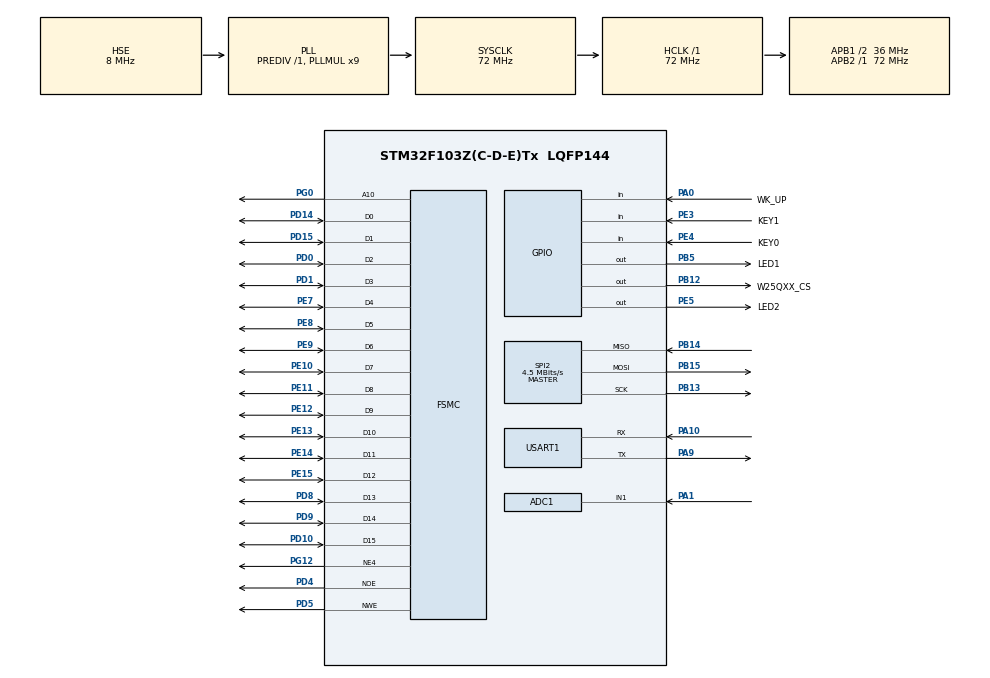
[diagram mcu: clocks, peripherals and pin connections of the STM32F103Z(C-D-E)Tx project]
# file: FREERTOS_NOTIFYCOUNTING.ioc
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ADC1.Channel-3\#ChannelRegularConversion=ADC_CHANNEL_1
ADC1.ExternalTrigConv=ADC_EXTERNALTRIGCONV_T3_TRGO
ADC1.NbrOfConversionFlag=1
ADC1.Rank-3\#ChannelRegularConversion=1
ADC1.SamplingTime-3\#ChannelRegularConversion=ADC_SAMPLETIME_1CYCLE_5
ADC1.master=1
FREERTOS.BinarySemaphores01=BinSem_DataReady,Dynamic,NULL
FREERTOS.INCLUDE_xEventGroupSetBitFromISR=1
FREERTOS.INCLUDE_xTaskAbortDelay=1
FREERTOS.INCLUDE_xTaskGetCurrentTaskHandle=1
FREERTOS.INCLUDE_xTaskGetHandle=1
FREERTOS.Queues01=Queue_Keys,10,uint8_t,0,Dynamic,NULL,NULL
FREERTOS.Tasks01=Task_Checkln,24,128,AppTask_Checkln,Default,NULL,Dynamic,NULL,NULL
FSMC.AddressSetupTime4=6
FSMC.BusTurnAroundDuration4=0
FSMC.DataSetupTime4=26
FSMC.ExtendedAddressSetupTime4=3
FSMC.ExtendedBusTurnAroundDuration4=0
FSMC.ExtendedDataSetupTime4=6
FSMC.ExtendedMode4=FSMC_EXTENDED_MODE_ENABLE
Mcu.Family=STM32F1
Mcu.Name=STM32F103Z(C-D-E)Tx
Mcu.Package=LQFP144
NVIC.PriorityGroup=NVIC_PRIORITYGROUP_4
NVIC.RTC_Alarm_IRQn=true\:5\:0\:false\:false\:true\:true\:true\:true\:true
NVIC.RTC_IRQn=true\:5\:0\:false\:false\:true\:true\:true\:true\:true
NVIC.TIM3_IRQn=true\:5\:0\:false\:false\:true\:true\:true\:true\:true
NVIC.TIM6_IRQn=true\:15\:0\:false\:false\:true\:false\:false\:true\:true
NVIC.TimeBase=TIM6_IRQn
NVIC.TimeBaseIP=TIM6
NVIC.USART1_IRQn=true\:5\:0\:false\:false\:true\:true\:true\:true\:true
OSC_IN.Mode=HSE-External-Oscillator
OSC_IN.Signal=RCC_OSC_IN
OSC_OUT.Mode=HSE-External-Oscillator
OSC_OUT.Signal=RCC_OSC_OUT
PA0-WKUP.GPIO_Label=WK_UP
PA0-WKUP.GPIO_PuPd=GPIO_PULLDOWN
PA0-WKUP.Signal=GPIO_Input
PA1.Signal=ADCx_IN1
PA10.Mode=Asynchronous
PA10.Signal=USART1_RX
PA13.Mode=Serial_Wire
PA13.Signal=SYS_JTMS-SWDIO
PA14.Mode=Serial_Wire
PA14.Signal=SYS_JTCK-SWCLK
PA9.Mode=Asynchronous
PA9.Signal=USART1_TX
PB12.GPIO_Label=W25QXX_CS
PB12.GPIO_PuPd=GPIO_PULLUP
PB12.GPIO_Speed=GPIO_SPEED_FREQ_HIGH
PB12.PinState=GPIO_PIN_SET
PB12.Signal=GPIO_Output
PB13.Mode=Full_Duplex_Master
PB13.Signal=SPI2_SCK
PB14.Mode=Full_Duplex_Master
PB14.Signal=SPI2_MISO
PB15.Mode=Full_Duplex_Master
PB15.Signal=SPI2_MOSI
PB5.GPIO_Label=LED1
PB5.GPIO_Speed=GPIO_SPEED_FREQ_HIGH
PB5.Signal=GPIO_Output
PC14-OSC32_IN.Mode=LSE-External-Oscillator
PC14-OSC32_IN.Signal=RCC_OSC32_IN
PC15-OSC32_OUT.Mode=LSE-External-Oscillator
PC15-OSC32_OUT.Signal=RCC_OSC32_OUT
PD0.Signal=FSMC_D2_DA2
PD1.Signal=FSMC_D3_DA3
PD10.Signal=FSMC_D15_DA15
PD14.Signal=FSMC_D0_DA0
PD15.Signal=FSMC_D1_DA1
PD4.Signal=FSMC_NOE
PD5.Signal=FSMC_NWE
PD8.Signal=FSMC_D13_DA13
PD9.Signal=FSMC_D14_DA14
PE10.Signal=FSMC_D7_DA7
PE11.Signal=FSMC_D8_DA8
PE12.Signal=FSMC_D9_DA9
PE13.Signal=FSMC_D10_DA10
PE14.Signal=FSMC_D11_DA11
PE15.Signal=FSMC_D12_DA12
PE3.GPIO_Label=KEY1
PE3.GPIO_PuPd=GPIO_PULLUP
PE3.Signal=GPIO_Input
PE4.GPIO_Label=KEY0
PE4.GPIO_PuPd=GPIO_PULLUP
PE4.Signal=GPIO_Input
PE5.GPIO_Label=LED2
PE5.GPIO_Speed=GPIO_SPEED_FREQ_HIGH
PE5.Signal=GPIO_Output
PE7.Signal=FSMC_D4_DA4
PE8.Signal=FSMC_D5_DA5
PE9.Signal=FSMC_D6_DA6
PG0.Signal=FSMC_A10
PG12.Mode=NorPsramChipSelect4_4
PG12.Signal=FSMC_NE4
ProjectManager.HeapSize=0x200
ProjectManager.StackSize=0x400
ProjectManager.TargetToolchain=STM32CubeIDE
RCC.AHBFreq_Value=72000000
RCC.APB1CLKDivider=RCC_HCLK_DIV2
RCC.APB1Freq_Value=36000000
RCC.APB1TimFreq_Value=72000000
RCC.APB2Freq_Value=72000000
RCC.APB2TimFreq_Value=72000000
RCC.HCLKFreq_Value=72000000
RCC.PLLMUL=RCC_PLL_MUL9
RCC.PLLSourceVirtual=RCC_PLLSOURCE_HSE
RCC.RTCClockSelection=RCC_RTCCLKSOURCE_LSE
RCC.SYSCLKFreq_VALUE=72000000
RCC.SYSCLKSource=RCC_SYSCLKSOURCE_PLLCLK
RCC.USBFreq_Value=72000000
RTC.AutoPrediv=RTC_AUTO_1_SECOND
RTC.Format=RTC_FORMAT_BIN
SH.ADCx_IN1.0=ADC1_IN1,IN1
SH.FSMC_A10.0=FSMC_A10,A10_4
SH.FSMC_D0_DA0.0=FSMC_D0,16b-d4
SH.FSMC_D10_DA10.0=FSMC_D10,16b-d4
SH.FSMC_D11_DA11.0=FSMC_D11,16b-d4
SH.FSMC_D12_DA12.0=FSMC_D12,16b-d4
SH.FSMC_D13_DA13.0=FSMC_D13,16b-d4
SH.FSMC_D14_DA14.0=FSMC_D14,16b-d4
SH.FSMC_D15_DA15.0=FSMC_D15,16b-d4
SH.FSMC_D1_DA1.0=FSMC_D1,16b-d4
SH.FSMC_D2_DA2.0=FSMC_D2,16b-d4
SH.FSMC_D3_DA3.0=FSMC_D3,16b-d4
SH.FSMC_D4_DA4.0=FSMC_D4,16b-d4
SH.FSMC_D5_DA5.0=FSMC_D5,16b-d4
SH.FSMC_D6_DA6.0=FSMC_D6,16b-d4
SH.FSMC_D7_DA7.0=FSMC_D7,16b-d4
SH.FSMC_D8_DA8.0=FSMC_D8,16b-d4
SH.FSMC_D9_DA9.0=FSMC_D9,16b-d4
SH.FSMC_NOE.0=FSMC_NOE,Lcd4
SH.FSMC_NWE.0=FSMC_NWE,Lcd4
SPI2.BaudRatePrescaler=SPI_BAUDRATEPRESCALER_8
SPI2.CLKPhase=SPI_PHASE_2EDGE
SPI2.CLKPolarity=SPI_POLARITY_HIGH
SPI2.CRCCalculation=SPI_CRCCALCULATION_DISABLE
SPI2.CalculateBaudRate=4.5 MBits/s
SPI2.Direction=SPI_DIRECTION_2LINES
SPI2.Mode=SPI_MODE_MASTER
SPI2.VirtualType=VM_MASTER
TIM3.AutoReloadPreload=TIM_AUTORELOAD_PRELOAD_DISABLE
TIM3.Period=4999
TIM3.Prescaler=7199
TIM3.TIM_MasterOutputTrigger=TIM_TRGO_RESET
USART1.VirtualMode=VM_ASYNC
VP_FREERTOS_VS_CMSIS_V2.Mode=CMSIS_V2
VP_RTC_VS_RTC_Activate.Mode=RTC_Enabled
VP_SYS_VS_tim6.Mode=TIM6
VP_TIM3_VS_ClockSourceINT.Mode=Internal
board=custom

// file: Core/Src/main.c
/* USER CODE BEGIN Header */
/**
  ******************************************************************************
  * @file           : main.c
  * @brief          : Main program body
  ******************************************************************************
  * @attention
  *
  * Copyright (c) 2023 STMicroelectronics.
  * All rights reserved.
  *
  * This software is licensed under terms that can be found in the LICENSE file
  * in the root directory of this software component.
  * If no LICENSE file comes with this software, it is provided AS-IS.
  *
  ******************************************************************************
  */
/* USER CODE END Header */
#include "main.h"
#include "cmsis_os.h"
#include "adc.h"
#include "rtc.h"
#include "spi.h"
#include "tim.h"
#include "usart.h"
#include "gpio.h"
#include "fsmc.h"

/* USER CODE BEGIN Includes */
#include "stdio.h"
#include "lcd.h"
#include "w25qxx.h"
#include <string.h>
/* USER CODE END Includes */

void SystemClock_Config(void);
void MX_FREERTOS_Init(void);

int main(void)
{
  /* USER CODE BEGIN 1 */
	int x = 0,FLASH_SIZE,id;
	u8 lcd_id[12],datatemp[20];						//存放LCD ID字符�???????????????????????
  /* USER CODE END 1 */

  /* MCU Configuration--------------------------------------------------------*/

  /* Reset of all peripherals, Initializes the Flash interface and the Systick. */
  HAL_Init();

  /* Configure the system clock */
  SystemClock_Config();

  /* Initialize all configured peripherals */
  MX_GPIO_Init();
  MX_USART1_UART_Init();
  MX_FSMC_Init();
  MX_SPI2_Init();
  MX_RTC_Init();
  MX_ADC1_Init();
  MX_TIM3_Init();
  /* USER CODE BEGIN 2 */
	LCD_Init();
	POINT_COLOR=RED;     				//画笔颜色：红�???????????????????????
//	sprintf((char*)lcd_id,"LCD ID:%04X",lcddev.id);//将LCD ID打印到lcd_id数组�???????????????????????
	LCD_Clear(WHITE);
//	POINT_COLOR=RED;
	//HAL_ADC_Start_IT(&hadc1); //以中断方式启动ADC
	//HAL_TIM_Base_Start(&htim3); //启动定时�???????
	//HAL_TIM_Base_Start_IT(&htim3);
	LCD_ShowString(30,40,210,12,12,"Demo8_2:Task Notification");

  /* USER CODE END 2 */

  /* Init scheduler */
  osKernelInitialize();  /* Call init function for freertos objects (in freertos.c) */
  MX_FREERTOS_Init();

  /* Start scheduler */
  osKernelStart();
  /* We should never get here as control is now taken by the scheduler */
  /* Infinite loop */
  /* USER CODE BEGIN WHILE */
	while (1)
	{

		osDelay(500);
		HAL_GPIO_TogglePin(LED1_GPIO_Port,LED1_Pin);
    /* USER CODE END WHILE */

  }
}

void SystemClock_Config(void)
{
  RCC_OscInitTypeDef RCC_OscInitStruct = {0};
  RCC_ClkInitTypeDef RCC_ClkInitStruct = {0};
  RCC_PeriphCLKInitTypeDef PeriphClkInit = {0};

  /** Initializes the RCC Oscillators according to the specified parameters
  * in the RCC_OscInitTypeDef structure.
  */
  RCC_OscInitStruct.OscillatorType = RCC_OSCILLATORTYPE_HSE|RCC_OSCILLATORTYPE_LSE;
  RCC_OscInitStruct.HSEState = RCC_HSE_ON;
  RCC_OscInitStruct.HSEPredivValue = RCC_HSE_PREDIV_DIV1;
  RCC_OscInitStruct.LSEState = RCC_LSE_ON;
  RCC_OscInitStruct.HSIState = RCC_HSI_ON;
  RCC_OscInitStruct.PLL.PLLState = RCC_PLL_ON;
  RCC_OscInitStruct.PLL.PLLSource = RCC_PLLSOURCE_HSE;
  RCC_OscInitStruct.PLL.PLLMUL = RCC_PLL_MUL9;
  if (HAL_RCC_OscConfig(&RCC_OscInitStruct) != HAL_OK)
  {
    Error_Handler();
  }

  /** Initializes the CPU, AHB and APB buses clocks
  */
  RCC_ClkInitStruct.ClockType = RCC_CLOCKTYPE_HCLK|RCC_CLOCKTYPE_SYSCLK
                              |RCC_CLOCKTYPE_PCLK1|RCC_CLOCKTYPE_PCLK2;
  RCC_ClkInitStruct.SYSCLKSource = RCC_SYSCLKSOURCE_PLLCLK;
  RCC_ClkInitStruct.AHBCLKDivider = RCC_SYSCLK_DIV1;
  RCC_ClkInitStruct.APB1CLKDivider = RCC_HCLK_DIV2;
  RCC_ClkInitStruct.APB2CLKDivider = RCC_HCLK_DIV1;

  if (HAL_RCC_ClockConfig(&RCC_ClkInitStruct, FLASH_LATENCY_2) != HAL_OK)
  {
    Error_Handler();
  }
  PeriphClkInit.PeriphClockSelection = RCC_PERIPHCLK_RTC|RCC_PERIPHCLK_ADC;
  PeriphClkInit.RTCClockSelection = RCC_RTCCLKSOURCE_LSE;
  PeriphClkInit.AdcClockSelection = RCC_ADCPCLK2_DIV2;
  if (HAL_RCCEx_PeriphCLKConfig(&PeriphClkInit) != HAL_OK)
  {
    Error_Handler();
  }
}

/* USER CODE BEGIN 4 */

void delay_us(uint32_t udelay)
{
  uint32_t startval,tickn,delays,wait;

  startval = SysTick->VAL;
  tickn = HAL_GetTick();
  //sysc = 72000;  //SystemCoreClock / (1000U / uwTickFreq);
  delays =udelay * 72; //sysc / 1000 * udelay;
  if(delays > startval)
    {
      while(HAL_GetTick() == tickn)
        {

        }
      wait = 72000 + startval - delays;
      while(wait < SysTick->VAL)
        {

        }
    }
  else
    {
      wait = startval - delays;
      while(wait < SysTick->VAL && HAL_GetTick() == tickn)
        {

        }
    }
}

void delay_ms(uint32_t udelay)
{
	HAL_Delay(udelay);
	//osDelay(udelay);
}
/* USER CODE END 4 */

void HAL_TIM_PeriodElapsedCallback(TIM_HandleTypeDef *htim)
{
  if (htim->Instance == TIM6) {
    HAL_IncTick();
  }
  /* USER CODE BEGIN Callback 1 */
	else
	{
		FreeRtosHardwareTimeISR(htim);
	}

  /* USER CODE END Callback 1 */
}

void Error_Handler(void)
{
  __disable_irq();
  while (1)
  {
  }
}

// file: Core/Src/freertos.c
/* USER CODE BEGIN Header */
/**
  ******************************************************************************
  * File Name          : freertos.c
  * Description        : Code for freertos applications
  ******************************************************************************
  * @attention
  *
  * Copyright (c) 2023 STMicroelectronics.
  * All rights reserved.
  *
  * This software is licensed under terms that can be found in the LICENSE file
  * in the root directory of this software component.
  * If no LICENSE file comes with this software, it is provided AS-IS.
  *
  ******************************************************************************
  */
/* USER CODE END Header */

#include "FreeRTOS.h"
#include "task.h"
#include "main.h"
#include "cmsis_os.h"

/* USER CODE BEGIN Includes */
#include "lcd.h"
#include "adc.h"
#include "gpio.h"
#include "queue.h"
#include "semphr.h"
#include "event_groups.h" //事件组相关头文件
#include "tim.h"
/* USER CODE END Includes */

/* USER CODE BEGIN PD */
#define BITMASK_KEY_LEFT 0x04 //事件位掩码定�???
#define BITMASK_KEY_DOWN 0x02
#define BITMASK_KEY_RIGHT 0x01
#define BITMASK_SYNC BITMASK_KEY_LEFT | BITMASK_KEY_DOWN | BITMASK_KEY_RIGHT
/* USER CODE END PD */

/* USER CODE BEGIN Variables */
uint32_t adc_value;
EventGroupHandle_t eventGroupHandle; //事件组对象句�????
/* USER CODE END Variables */
/* Definitions for Task_Checkln */
osThreadId_t Task_ChecklnHandle;
const osThreadAttr_t Task_Checkln_attributes = {
  .name = "Task_Checkln",
  .stack_size = 128 * 4,
  .priority = (osPriority_t) osPriorityNormal,
};
/* Definitions for Queue_Keys */
osMessageQueueId_t Queue_KeysHandle;
const osMessageQueueAttr_t Queue_Keys_attributes = {
  .name = "Queue_Keys"
};
/* Definitions for BinSem_DataReady */
osSemaphoreId_t BinSem_DataReadyHandle;
const osSemaphoreAttr_t BinSem_DataReady_attributes = {
  .name = "BinSem_DataReady"
};

void AppTask_Checkln(void *argument);

void MX_FREERTOS_Init(void); /* (MISRA C 2004 rule 8.1) */

void MX_FREERTOS_Init(void) {

  /* Create the semaphores(s) */
  /* creation of BinSem_DataReady */
  BinSem_DataReadyHandle = osSemaphoreNew(1, 1, &BinSem_DataReady_attributes);

  /* Create the queue(s) */
  /* creation of Queue_Keys */
  Queue_KeysHandle = osMessageQueueNew (10, sizeof(uint8_t), &Queue_Keys_attributes);

  /* USER CODE BEGIN RTOS_QUEUES */
  /* add queues, ... */
  eventGroupHandle= xEventGroupCreate(); //创建事件�????
  /* USER CODE END RTOS_QUEUES */

  /* Create the thread(s) */
  /* creation of Task_Checkln */
  Task_ChecklnHandle = osThreadNew(AppTask_Checkln, NULL, &Task_Checkln_attributes);

}

void AppTask_Checkln(void *argument)
{
  /* USER CODE BEGIN AppTask_Checkln */
	HAL_TIM_Base_Start_IT(&htim3);
	LCD_ShowString(30,60,210,12,12,"People in wait= ");
  /* Infinite loop */
	for(;;)
	{
		if(KEY0 == KEY_DOWN)
		{
			BaseType_t clearOnExit = pdFALSE;
			BaseType_t preCount = ulTaskNotifyTake(clearOnExit, portMAX_DELAY);
			LCD_ShowNum(150,60,preCount-1,4,12);
			vTaskDelay(pdMS_TO_TICKS(300));
		}
		vTaskDelay(pdMS_TO_TICKS(5));
	}
  /* USER CODE END AppTask_Checkln */
}

/* USER CODE BEGIN Application */
void FreeRtosHardwareTimeISR(TIM_HandleTypeDef *htim)
{
	if(htim->Instance == TIM3)
	{
		HAL_GPIO_TogglePin(LED1_GPIO_Port, LED1_Pin);
		BaseType_t taskWoken = pdFALSE;
		vTaskNotifyGiveFromISR(Task_ChecklnHandle, &taskWoken);
		portYIELD_FROM_ISR(taskWoken);
	}
}
//void HAL_TIM_PeriodElapsedCallback(TIM_HandleTypeDef *htim)
//{
//
//}
//void HAL_ADC_ConvCpltCallback(ADC_HandleTypeDef* hadc)
//{
//	if(hadc->Instance == ADC1)
//	{
//		adc_value = HAL_ADC_GetValue(hadc);
//		if(Task_ShowHandle != NULL)
//		{
//			BaseType_t taskWoken = pdFALSE;
//			//xSemaphoreGiveFromISR(BinSem_DataReadyHandle,&highTaskWoken);
//			xTaskNotifyFromISR(Task_ShowHandle,adc_value,eSetValueWithOverwrite,&taskWoken);
//			portYIELD_FROM_ISR(taskWoken);
//		}
//	}
//}
/* USER CODE END Application */
